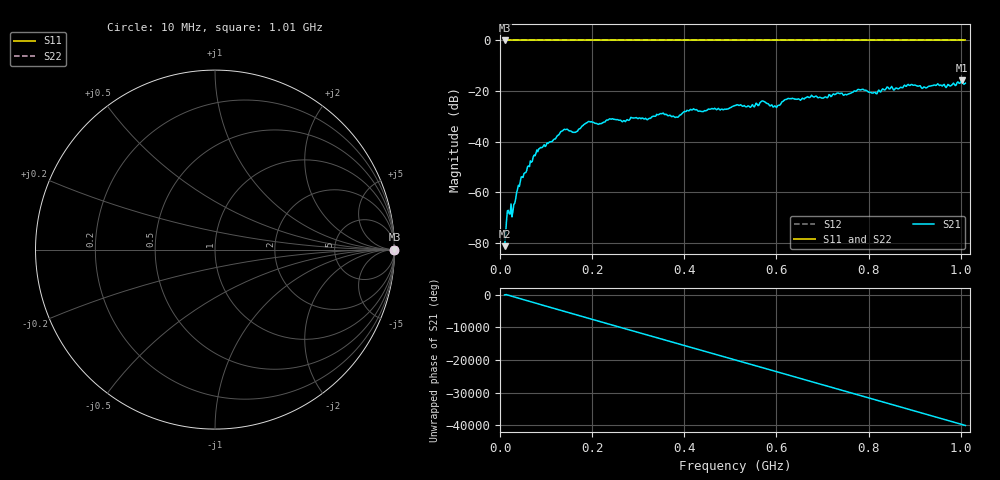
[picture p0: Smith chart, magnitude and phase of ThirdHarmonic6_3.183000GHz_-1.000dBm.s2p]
! 8/17/2025 9:37:08 AM
! C:\ANRITSUVNA\TEMP\TEMP.S2P
! CHANNEL.1
! TR.MEASUREMENT
! RAW.DATA
! RF.CORRECTION.OFF
! AVERAGING.OFF
! IF.BANDWIDTH: 5KHZ
! SWEEPTYPE:  FREQ.SWEEP(Linear)
! Reference Plane Port Info
! PORT:  PORT1  PORT2
! DISTANCE:  0  m  0  m
! TIME:  0  s  0  s
! PHASE.OFFSET:  0  deg.  0  deg.
! LOSS:  0  dB  0  dB
! REF.LOSS:  0  dB  0  dB
! REF.FREQ:  0  Hz  0  Hz
! Power Info
! POWER:  -20  dBm  -20  dBm
! EFF.POWER:  -20  dBm  -20  dBm
! SOURCE.ATTEN:  0  dB  0  dB
! TEST.ATTEN:  0  dB  0  dB
# GHZ S RI R 50.0
! FREQ.GHZ  S11RE  S11IM  S21RE  S21IM  S12RE  S12IM  S22RE  S22IM
!; PortSelection: Port_12
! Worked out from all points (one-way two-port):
!   501 points, 10 MHz to 1.01 GHz, reference 50 ohm
!   highest |S21| = -15.73 dB at 1.002 GHz (marker M1); lowest = -81.2 dB at 10 MHz (marker M2)
!   lowest |S11| = 0.0 dB at 10 MHz (marker M3)
!   |S11| at or under -10 dB: nowhere
!   |S22| runs from 0.0 to 0.0 dB; largest |S21 - S12| = 1.2
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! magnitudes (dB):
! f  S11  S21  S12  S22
! 10 MHz  0.0  -81.2  0.0  0.0
! 20 MHz  0.0  -68.4  0.0  0.0
! 30 MHz  0.0  -64.8  0.0  0.0
! 44 MHz  0.0  -55.8  0.0  0.0
! 76 MHz  0.0  -45.5  0.0  0.0
! 136 MHz  0.0  -35.7  0.0  0.0
! 162 MHz  0.0  -36.3  0.0  0.0
! 178 MHz  0.0  -33.8  0.0  0.0
! 194 MHz  0.0  -32.0  0.0  0.0
! 344 MHz  0.0  -29.3  0.0  0.0
! 384 MHz  0.0  -30.2  0.0  0.0
! 416 MHz  0.0  -27.4  0.0  0.0
! 510 MHz  0.0  -25.7  0.0  0.0
! 570 MHz  0.0  -23.9  0.0  0.0
! 596 MHz  0.0  -25.8  0.0  0.0
! 622 MHz  0.0  -23.3  0.0  0.0
! 678 MHz  0.0  -22.0  0.0  0.0
! 782 MHz  0.0  -19.5  0.0  0.0
! 814 MHz  0.0  -20.5  0.0  0.0
! 844 MHz  0.0  -19.1  0.0  0.0
! 1.002 GHz  0.0  -15.7  0.0  0.0
! 1.01 GHz  0.0  -16.9  0.0  0.0
